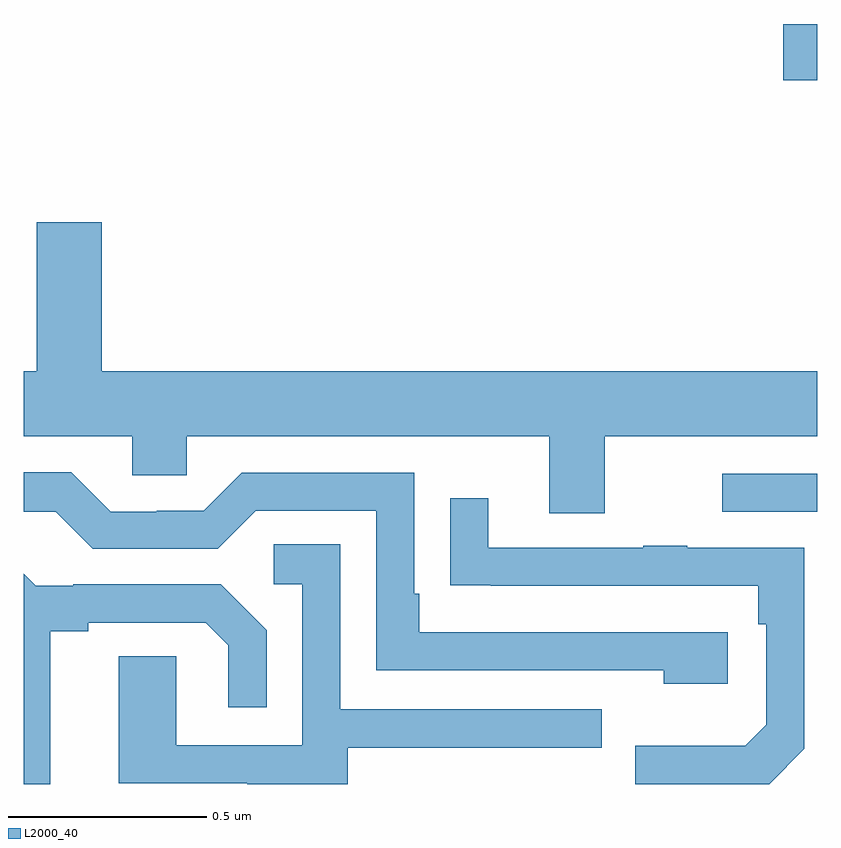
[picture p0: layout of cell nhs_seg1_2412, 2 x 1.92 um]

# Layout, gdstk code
import gdstk
lib = gdstk.Library(unit=1e-6, precision=1e-09)
def R(c, l, rs):  # rectangles x0, y0, x1, y1
    for r in rs: c.add(gdstk.rectangle(r[:2], r[2:], *l))
def P(c, l, *ps):  # polygons
    for p in ps: c.add(gdstk.Polygon(p, *l))
L2000_40 = (2000, 40)

nhs_seg1_2412 = lib.new_cell('nhs_seg1_2412')
R(nhs_seg1_2412, L2000_40, [(142.761,540.885,143,540.981), (142.914,541.973,143,542.115)])
P(nhs_seg1_2412, L2000_40, [(142.465,541.076),(143,541.076),(143,541.24),(141.196,541.24),(141.196,541.615),(141.032,541.615),(141.032,541.24),(141,541.24),(141,541.076),(141.273,541.076),(141.273,540.978),(141.411,540.978),(141.411,541.076),(142.325,541.076),(142.325,540.882),(142.465,540.882)],
  [(142.774,540.582),(141.997,540.582),(141.997,540.679),(141.984,540.679),(141.984,540.984),(141.549,540.984),(141.453,540.888),(141.335,540.888),(141.335,540.885),(141.219,540.885),(141.119,540.985),(141,540.985),(141,540.885),(141.081,540.885),(141.174,540.792),(141.489,540.792),(141.585,540.888),(141.888,540.888),(141.888,540.486),(142.613,540.486),(142.613,540.452),(142.774,540.452)],
  [(142.968,540.288),(142.968,540.795),(142.673,540.795),(142.673,540.8),(142.561,540.8),(142.561,540.795),(142.171,540.795),(142.171,540.919),(142.075,540.919),(142.075,540.7),(142.177,540.7),(142.177,540.699),(142.852,540.699),(142.852,540.602),(142.872,540.602),(142.872,540.348),(142.819,540.295),(142.542,540.295),(142.542,540.199),(142.879,540.199)],
  [(141.817,540.291),(142.457,540.291),(142.457,540.387),(141.798,540.387),(141.798,540.803),(141.63,540.803),(141.63,540.702),(141.702,540.702),(141.702,540.297),(141.384,540.297),(141.384,540.521),(141.239,540.521),(141.239,540.201),(141.563,540.201),(141.563,540.199),(141.817,540.199)],
  [(141.067,540.584),(141.163,540.584),(141.163,540.606),(141.458,540.606),(141.515,540.549),(141.515,540.393),(141.612,540.393),(141.612,540.586),(141.496,540.702),(141.124,540.702),(141.124,540.699),(141.03,540.699),(141,540.729),(141,540.199),(141.067,540.199)])

lib.write_gds('nhs_seg1_2412.gds')
